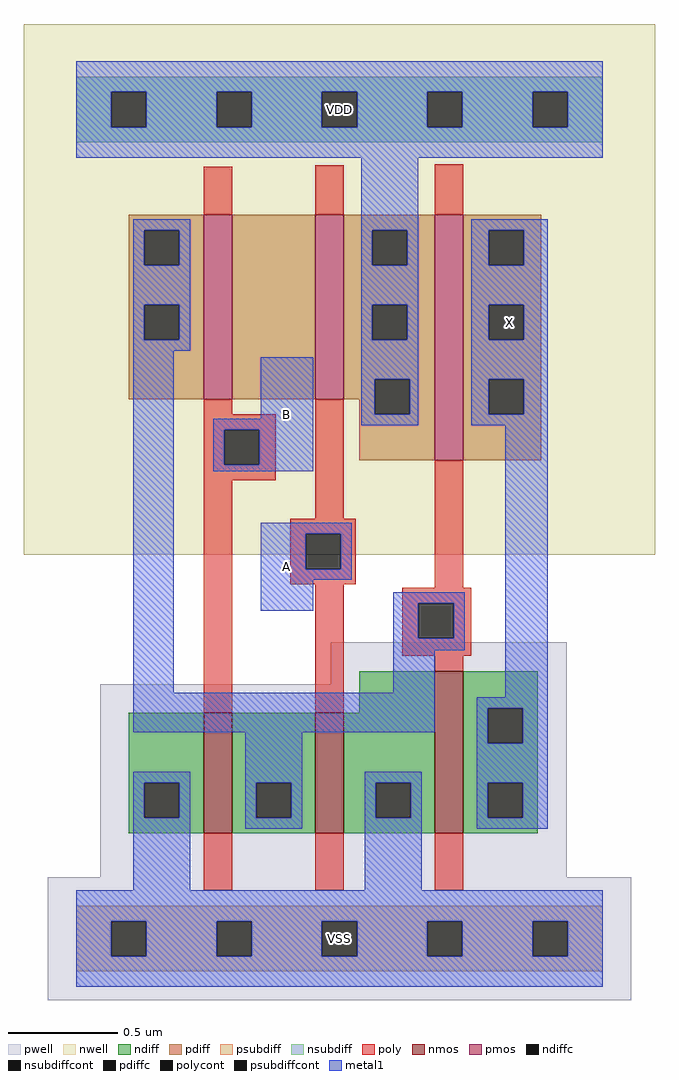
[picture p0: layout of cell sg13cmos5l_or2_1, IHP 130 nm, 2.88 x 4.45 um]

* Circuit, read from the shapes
.subckt sg13cmos5l_or2_1 A VSS B X VDD
XM1 n1 B VSS VSS sg13_lv_nmos w=0.55u l=0.13u
XM2 VSS A n1 VSS sg13_lv_nmos w=0.55u l=0.13u
XM3 X n1 VSS VSS sg13_lv_nmos w=0.74u l=0.13u
XM4 n2 B n1 VDD sg13_lv_pmos w=0.84u l=0.13u
XM5 VDD A n2 VDD sg13_lv_pmos w=0.84u l=0.13u
XM6 X n1 VDD VDD sg13_lv_pmos w=1.12u l=0.13u
.ends

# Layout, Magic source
magic
tech ihp-sg13cmos5l
magscale 1 2
<< nwell >>
rect -48 350 528 834
<< pwell >>
rect 232 232 447 270
rect 22 56 447 232
rect -26 -56 506 56
<< nmos >>
rect 116 96 142 206
rect 218 96 244 206
rect 327 96 353 244
<< pmos >>
rect 116 492 142 660
rect 218 492 244 660
rect 327 436 353 660
<< ndiff >>
rect 258 206 327 244
rect 48 142 116 206
rect 48 110 62 142
rect 94 110 116 142
rect 48 96 116 110
rect 142 142 218 206
rect 142 110 164 142
rect 196 110 218 142
rect 142 96 218 110
rect 244 142 327 206
rect 244 110 273 142
rect 305 110 327 142
rect 244 96 327 110
rect 353 210 421 244
rect 353 178 375 210
rect 407 178 421 210
rect 353 142 421 178
rect 353 110 375 142
rect 407 110 421 142
rect 353 96 421 110
<< pdiff >>
rect 48 646 116 660
rect 48 614 62 646
rect 94 614 116 646
rect 48 578 116 614
rect 48 546 62 578
rect 94 546 116 578
rect 48 492 116 546
rect 142 492 218 660
rect 244 646 327 660
rect 244 614 270 646
rect 302 614 327 646
rect 244 578 327 614
rect 244 546 270 578
rect 302 546 327 578
rect 244 510 327 546
rect 244 492 272 510
rect 258 478 272 492
rect 304 478 327 510
rect 258 436 327 478
rect 353 646 424 660
rect 353 614 376 646
rect 408 614 424 646
rect 353 578 424 614
rect 353 546 376 578
rect 408 546 424 578
rect 353 510 424 546
rect 353 478 376 510
rect 408 478 424 510
rect 353 436 424 478
<< ndiffc >>
rect 62 110 94 142
rect 164 110 196 142
rect 273 110 305 142
rect 375 178 407 210
rect 375 110 407 142
<< pdiffc >>
rect 62 614 94 646
rect 62 546 94 578
rect 270 614 302 646
rect 270 546 302 578
rect 272 478 304 510
rect 376 614 408 646
rect 376 546 408 578
rect 376 478 408 510
<< psubdiff >>
rect 0 16 480 30
rect 0 -16 32 16
rect 64 -16 128 16
rect 160 -16 224 16
rect 256 -16 320 16
rect 352 -16 416 16
rect 448 -16 480 16
rect 0 -30 480 -16
<< nsubdiff >>
rect 0 772 480 786
rect 0 740 32 772
rect 64 740 128 772
rect 160 740 224 772
rect 256 740 320 772
rect 352 740 416 772
rect 448 740 480 772
rect 0 726 480 740
<< psubdiffcont >>
rect 32 -16 64 16
rect 128 -16 160 16
rect 224 -16 256 16
rect 320 -16 352 16
rect 416 -16 448 16
<< nsubdiffcont >>
rect 32 740 64 772
rect 128 740 160 772
rect 224 740 256 772
rect 320 740 352 772
rect 416 740 448 772
<< poly >>
rect 116 660 142 704
rect 218 660 244 705
rect 327 660 353 706
rect 116 478 142 492
rect 116 464 182 478
rect 116 432 135 464
rect 167 432 182 464
rect 116 418 182 432
rect 116 206 142 418
rect 218 383 244 492
rect 195 369 255 383
rect 195 337 209 369
rect 241 337 255 369
rect 195 323 255 337
rect 218 206 244 323
rect 327 320 353 436
rect 297 306 360 320
rect 297 274 312 306
rect 344 274 360 306
rect 297 258 360 274
rect 327 244 353 258
rect 116 44 142 96
rect 218 44 244 96
rect 327 44 353 96
<< polycont >>
rect 135 432 167 464
rect 209 337 241 369
rect 312 274 344 306
<< metal1 >>
rect 0 772 480 800
rect 0 740 32 772
rect 64 740 128 772
rect 160 740 224 772
rect 256 740 320 772
rect 352 740 416 772
rect 448 740 480 772
rect 0 712 480 740
rect 52 646 104 656
rect 52 614 62 646
rect 94 614 104 646
rect 52 578 104 614
rect 52 546 62 578
rect 94 546 104 578
rect 52 536 104 546
rect 260 646 312 712
rect 260 614 270 646
rect 302 614 312 646
rect 260 578 312 614
rect 260 546 270 578
rect 302 546 312 578
rect 52 224 89 536
rect 168 474 216 530
rect 125 464 216 474
rect 260 510 312 546
rect 260 478 272 510
rect 304 478 312 510
rect 260 468 312 478
rect 360 646 430 656
rect 360 614 376 646
rect 408 614 430 646
rect 360 578 430 614
rect 360 546 376 578
rect 408 546 430 578
rect 360 510 430 546
rect 360 478 376 510
rect 408 478 430 510
rect 360 468 430 478
rect 125 432 135 464
rect 167 432 216 464
rect 125 426 216 432
rect 168 369 251 379
rect 168 337 209 369
rect 241 337 251 369
rect 168 327 251 337
rect 168 299 216 327
rect 289 306 354 316
rect 289 274 312 306
rect 344 274 354 306
rect 289 263 354 274
rect 289 224 327 263
rect 52 188 327 224
rect 391 220 430 468
rect 365 210 430 220
rect 52 142 104 152
rect 52 110 62 142
rect 94 110 104 142
rect 52 44 104 110
rect 154 142 206 188
rect 365 178 375 210
rect 407 178 430 210
rect 154 110 164 142
rect 196 110 206 142
rect 154 100 206 110
rect 263 142 315 152
rect 263 110 273 142
rect 305 110 315 142
rect 263 44 315 110
rect 365 142 430 178
rect 365 110 375 142
rect 407 110 430 142
rect 365 100 430 110
rect 0 16 480 44
rect 0 -16 32 16
rect 64 -16 128 16
rect 160 -16 224 16
rect 256 -16 320 16
rect 352 -16 416 16
rect 448 -16 480 16
rect 0 -44 480 -16
<< labels >>
flabel metal1 s 168 299 216 379 0 FreeSans 400 0 0 0 A
port 2 nsew
flabel metal1 s 0 -44 480 44 0 FreeSans 400 0 0 0 VSS
port 3 nsew
flabel metal1 s 168 426 216 530 0 FreeSans 400 0 0 0 B
port 4 nsew
flabel metal1 s 360 468 430 656 0 FreeSans 400 0 0 0 X
port 5 nsew
flabel metal1 s 0 712 480 800 0 FreeSans 400 0 0 0 VDD
port 6 nsew
<< properties >>
string FIXED_BBOX 0 0 480 756
string GDS_END 78272
string GDS_FILE pll_digital.gds
string GDS_START 74122
<< end >>
